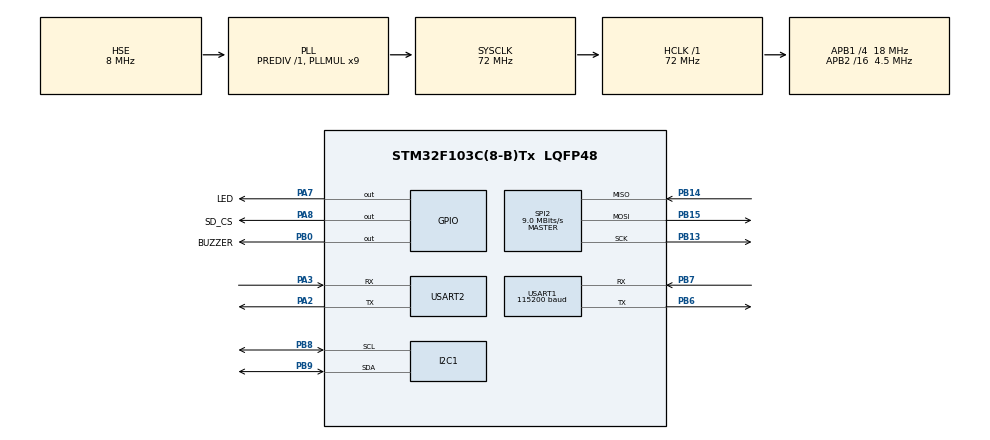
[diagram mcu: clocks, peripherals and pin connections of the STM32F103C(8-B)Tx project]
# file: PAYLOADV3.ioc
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FATFS._USE_LFN=1
Mcu.Family=STM32F1
Mcu.Name=STM32F103C(8-B)Tx
Mcu.Package=LQFP48
NVIC.PriorityGroup=NVIC_PRIORITYGROUP_4
NVIC.TIM2_IRQn=true\:2\:0\:true\:false\:true\:true\:true
NVIC.USART1_IRQn=true\:0\:0\:false\:false\:true\:true\:true
NVIC.USART2_IRQn=true\:0\:0\:false\:false\:true\:true\:true
PA13.Mode=Serial_Wire
PA13.Signal=SYS_JTMS-SWDIO
PA14.Mode=Serial_Wire
PA14.Signal=SYS_JTCK-SWCLK
PA2.Mode=Asynchronous
PA2.Signal=USART2_TX
PA3.Mode=Asynchronous
PA3.Signal=USART2_RX
PA7.GPIO_Label=LED
PA7.Signal=GPIO_Output
PA8.GPIO_Label=SD_CS
PA8.Signal=GPIO_Output
PB0.GPIO_Label=BUZZER
PB0.Signal=GPIO_Output
PB13.Mode=Full_Duplex_Master
PB13.Signal=SPI2_SCK
PB14.Mode=Full_Duplex_Master
PB14.Signal=SPI2_MISO
PB15.Mode=Full_Duplex_Master
PB15.Signal=SPI2_MOSI
PB6.Mode=Asynchronous
PB6.Signal=USART1_TX
PB7.Mode=Asynchronous
PB7.Signal=USART1_RX
PB8.Mode=I2C
PB8.Signal=I2C1_SCL
PB9.Mode=I2C
PB9.Signal=I2C1_SDA
PD0-OSC_IN.Mode=HSE-External-Oscillator
PD0-OSC_IN.Signal=RCC_OSC_IN
PD1-OSC_OUT.Mode=HSE-External-Oscillator
PD1-OSC_OUT.Signal=RCC_OSC_OUT
ProjectManager.HeapSize=0x200
ProjectManager.StackSize=0x400
ProjectManager.TargetToolchain=STM32CubeIDE
RCC.AHBFreq_Value=72000000
RCC.APB1CLKDivider=RCC_HCLK_DIV4
RCC.APB1Freq_Value=18000000
RCC.APB1TimFreq_Value=36000000
RCC.APB2CLKDivider=RCC_HCLK_DIV16
RCC.APB2Freq_Value=4500000
RCC.APB2TimFreq_Value=9000000
RCC.HCLKFreq_Value=72000000
RCC.PLLMUL=RCC_PLL_MUL9
RCC.PLLSourceVirtual=RCC_PLLSOURCE_HSE
RCC.SYSCLKFreq_VALUE=72000000
RCC.SYSCLKSource=RCC_SYSCLKSOURCE_PLLCLK
RCC.USBFreq_Value=72000000
SPI2.BaudRatePrescaler=SPI_BAUDRATEPRESCALER_2
SPI2.CalculateBaudRate=9.0 MBits/s
SPI2.Direction=SPI_DIRECTION_2LINES
SPI2.Mode=SPI_MODE_MASTER
SPI2.VirtualType=VM_MASTER
TIM2.Period=99
TIM2.Prescaler=35999
USART1.BaudRate=115200
USART1.VirtualMode=VM_ASYNC
USART2.VirtualMode=VM_ASYNC
VP_FATFS_VS_Generic.Mode=User_defined
VP_TIM2_VS_ClockSourceINT.Mode=Internal
board=custom

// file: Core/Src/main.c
/* USER CODE BEGIN Header */
/**
  ******************************************************************************
  * @file           : main.c
  * @brief          : Main program body
  ******************************************************************************
  * @attention
  *
  * <h2><center>&copy; Copyright (c) 2021 STMicroelectronics.
  * All rights reserved.</center></h2>
  *
  * This software component is licensed by ST under BSD 3-Clause license,
  * the "License"; You may not use this file except in compliance with the
  * License. You may obtain a copy of the License at:
  *                        opensource.org/licenses/BSD-3-Clause
  *
  ******************************************************************************
  */
/* USER CODE END Header */
#include "main.h"
#include "fatfs.h"

/* USER CODE BEGIN Includes */
#include "string.h"
#include "stdio.h"
#include "fatfs_sd.h"
#include "MS5611.h"
/* USER CODE END Includes */

/* USER CODE BEGIN PTD */
extern uint8_t AS;
extern char RX1_BUFF[180];
uint8_t C_SD = 0;
extern uint8_t MS5611;
float ALT_T = 0, BASE_ALT_T = 0;
uint8_t WRITE_SD = 0;
uint8_t CLOSE_READY_SD = 0;
/* USER CODE END PTD */

I2C_HandleTypeDef hi2c1;

SPI_HandleTypeDef hspi2;

TIM_HandleTypeDef htim2;

UART_HandleTypeDef huart1;
UART_HandleTypeDef huart2;

/* USER CODE BEGIN PV */
char *RX2_BUF = "ATCDATA\r\n";
extern char buff;
/* USER CODE END PV */

void SystemClock_Config(void);
static void MX_GPIO_Init(void);
static void MX_USART1_UART_Init(void);
static void MX_USART2_UART_Init(void);
static void MX_SPI2_Init(void);
static void MX_I2C1_Init(void);
static void MX_TIM2_Init(void);

/* USER CODE BEGIN 0 */
FATFS fs;  // file system
FIL fil;  // file
FRESULT fresult;  // to store the result
char buffer[1024];  // to store data

UINT br, bw;  // file read/write count

/* capacity related variables */

FATFS *pfs;
DWORD fre_clust;
uint32_t total, free_space;

/* to send the data to the uart */
void send_uart(char *string) {
	uint8_t len = strlen(string);
	HAL_UART_Transmit(&huart2, (uint8_t*) string, len, 2000); // transmit in blocking mode
}

/* to find the size of data in the buffer */
int bufsize(char *buf) {
	int i = 0;
	while (*buf++ != '\0')
		i++;
	return i;
}

void bufclear(void)  // clear buffer
{
	for (int i = 0; i < 1024; i++)
		buffer[i] = '\0';
}

/* USER CODE END 0 */

int main(void)
{

  /* MCU Configuration--------------------------------------------------------*/

  /* Reset of all peripherals, Initializes the Flash interface and the Systick. */
  HAL_Init();

  /* Configure the system clock */
  SystemClock_Config();

  /* Initialize all configured peripherals */
  MX_GPIO_Init();
  MX_USART1_UART_Init();
  MX_USART2_UART_Init();
  MX_SPI2_Init();
  MX_FATFS_Init();
  MX_I2C1_Init();
  MX_TIM2_Init();
  /* USER CODE BEGIN 2 */
  fresult = f_mount(&fs, "", 0);
        	if (fresult != FR_OK)
        		send_uart("Error in mounting SD CARD...\n");
        	else
        		send_uart("SD CARD mounted successfully...\n");

        	/**********CARD CAPACITY DETAILS**********/
        	/* Check free space */
        	f_getfree("", &fre_clust, &pfs);

        	total = (uint32_t) ((pfs->n_fatent - 2) * pfs->csize * 0.5);
        	sprintf(buffer, "SD CARD Total Size : \t%lu\n", total);
        	send_uart(buffer);
        	bufclear();
        	free_space = (uint32_t) (fre_clust * pfs->csize * 0.5);
        	sprintf(buffer, "SD CARD Free Space : \t%lu\n", free_space);
        	send_uart(buffer);

          /**********THE FOLLWING OPERATION IS USING PUTS AND GETS**********/
        	/* Open file to write/create a file if it doesn't exist */
        	fresult = f_open(&fil, "EPHEMERISH_PAYLOAD.txt", FA_OPEN_ALWAYS | FA_READ | FA_WRITE);

        	/* Writing text */
        	fresult = f_puts("EPHEMERISH PAYLOAD MISSION : RADIATION PROFILE OF 10000 FT\n\n", &fil);

        	send_uart("File.txt is created and the data is written \n");

//        	fresult = f_close(&fil);
//
//        	fresult = f_open(&fil, "EPHEMERISH_PAYLOAD.txt", FA_READ | FA_WRITE);

//        	/* Close file */
//        	fresult = f_close(&fil);
//
//        	send_uart("File.txt is created and the data is written \n");
//
//        	/* Open file to read */
//        	fresult = f_open(&fil, "EPHEMERISH_PAYLOAD.txt", FA_READ);
//
//        	/* Read string from the file */
//        	f_gets(buffer, fil.fsize, &fil);
//
//        	send_uart(buffer);
//
//        	/* Close file */
//        	f_close(&fil);
//
//        	bufclear();

	for (uint8_t i = 0; i < 12; i++) {
		HAL_GPIO_TogglePin(GPIOB, GPIO_PIN_0);
		HAL_GPIO_TogglePin(GPIOA, GPIO_PIN_7);
		HAL_Delay(50);
	}

	MS5611_Init();
	__HAL_UART_ENABLE_IT(&huart1, UART_IT_RXNE);
	HAL_UART_Transmit(&huart1, (uint8_t*) RX2_BUF, strlen(RX2_BUF), 1000);

	BASE_ALT_T = MS5611_ReadMedian_Altitude();

  /* USER CODE END 2 */

  /* Infinite loop */
  while (1)
  {

    /* USER CODE BEGIN 3 */
	  ALT_T = MS5611_ReadMedian_Altitude();
	  if(AS == 1 && ALT_T >  BASE_ALT_T + 20){
		  for(uint8_t i = 0 ; i < sizeof(RX1_BUFF) ; i++){
			  if(RX1_BUFF[i] == '\n'){
				  RX1_BUFF[i] = '|';
				  break;
			  }
		  }
		  sprintf(RX1_BUFF, "%s  ALT : %.2f\n", RX1_BUFF, ALT_T);
		  fresult = f_puts(RX1_BUFF, &fil);
		  HAL_UART_Transmit(&huart2, (uint8_t *)RX1_BUFF, sizeof(RX1_BUFF), 1000);
		  for(uint8_t i = 0 ; i < sizeof(RX1_BUFF) ; i++)
			  RX1_BUFF[i] = '\0';
		  AS = 0;
		  HAL_UART_Transmit(&huart1, (uint8_t *)RX2_BUF, strlen(RX2_BUF), 1000);
		  if(ALT_T >  BASE_ALT_T + 500){
			  CLOSE_READY_SD = 1;
			  HAL_GPIO_TogglePin(GPIOB, GPIO_PIN_0);
		  }

	  }
	  if((CLOSE_READY_SD == 1) && (ALT_T < BASE_ALT_T + 50)){
		  fresult = f_close(&fil);
		  HAL_GPIO_WritePin(GPIOA, GPIO_PIN_7, SET);
	  }
  }
  /* USER CODE END 3 */
}

void SystemClock_Config(void)
{
  RCC_OscInitTypeDef RCC_OscInitStruct = {0};
  RCC_ClkInitTypeDef RCC_ClkInitStruct = {0};

  /** Initializes the RCC Oscillators according to the specified parameters
  * in the RCC_OscInitTypeDef structure.
  */
  RCC_OscInitStruct.OscillatorType = RCC_OSCILLATORTYPE_HSE;
  RCC_OscInitStruct.HSEState = RCC_HSE_ON;
  RCC_OscInitStruct.HSEPredivValue = RCC_HSE_PREDIV_DIV1;
  RCC_OscInitStruct.HSIState = RCC_HSI_ON;
  RCC_OscInitStruct.PLL.PLLState = RCC_PLL_ON;
  RCC_OscInitStruct.PLL.PLLSource = RCC_PLLSOURCE_HSE;
  RCC_OscInitStruct.PLL.PLLMUL = RCC_PLL_MUL9;
  if (HAL_RCC_OscConfig(&RCC_OscInitStruct) != HAL_OK)
  {
    Error_Handler();
  }
  /** Initializes the CPU, AHB and APB buses clocks
  */
  RCC_ClkInitStruct.ClockType = RCC_CLOCKTYPE_HCLK|RCC_CLOCKTYPE_SYSCLK
                              |RCC_CLOCKTYPE_PCLK1|RCC_CLOCKTYPE_PCLK2;
  RCC_ClkInitStruct.SYSCLKSource = RCC_SYSCLKSOURCE_PLLCLK;
  RCC_ClkInitStruct.AHBCLKDivider = RCC_SYSCLK_DIV1;
  RCC_ClkInitStruct.APB1CLKDivider = RCC_HCLK_DIV4;
  RCC_ClkInitStruct.APB2CLKDivider = RCC_HCLK_DIV16;

  if (HAL_RCC_ClockConfig(&RCC_ClkInitStruct, FLASH_LATENCY_2) != HAL_OK)
  {
    Error_Handler();
  }
}

static void MX_I2C1_Init(void)
{

  hi2c1.Instance = I2C1;
  hi2c1.Init.ClockSpeed = 100000;
  hi2c1.Init.DutyCycle = I2C_DUTYCYCLE_2;
  hi2c1.Init.OwnAddress1 = 0;
  hi2c1.Init.AddressingMode = I2C_ADDRESSINGMODE_7BIT;
  hi2c1.Init.DualAddressMode = I2C_DUALADDRESS_DISABLE;
  hi2c1.Init.OwnAddress2 = 0;
  hi2c1.Init.GeneralCallMode = I2C_GENERALCALL_DISABLE;
  hi2c1.Init.NoStretchMode = I2C_NOSTRETCH_DISABLE;
  if (HAL_I2C_Init(&hi2c1) != HAL_OK)
  {
    Error_Handler();
  }

}

static void MX_SPI2_Init(void)
{

  /* SPI2 parameter configuration*/
  hspi2.Instance = SPI2;
  hspi2.Init.Mode = SPI_MODE_MASTER;
  hspi2.Init.Direction = SPI_DIRECTION_2LINES;
  hspi2.Init.DataSize = SPI_DATASIZE_8BIT;
  hspi2.Init.CLKPolarity = SPI_POLARITY_LOW;
  hspi2.Init.CLKPhase = SPI_PHASE_1EDGE;
  hspi2.Init.NSS = SPI_NSS_SOFT;
  hspi2.Init.BaudRatePrescaler = SPI_BAUDRATEPRESCALER_2;
  hspi2.Init.FirstBit = SPI_FIRSTBIT_MSB;
  hspi2.Init.TIMode = SPI_TIMODE_DISABLE;
  hspi2.Init.CRCCalculation = SPI_CRCCALCULATION_DISABLE;
  hspi2.Init.CRCPolynomial = 10;
  if (HAL_SPI_Init(&hspi2) != HAL_OK)
  {
    Error_Handler();
  }

}

static void MX_TIM2_Init(void)
{

  TIM_ClockConfigTypeDef sClockSourceConfig = {0};
  TIM_MasterConfigTypeDef sMasterConfig = {0};

  htim2.Instance = TIM2;
  htim2.Init.Prescaler = 35999;
  htim2.Init.CounterMode = TIM_COUNTERMODE_UP;
  htim2.Init.Period = 99;
  htim2.Init.ClockDivision = TIM_CLOCKDIVISION_DIV1;
  htim2.Init.AutoReloadPreload = TIM_AUTORELOAD_PRELOAD_DISABLE;
  if (HAL_TIM_Base_Init(&htim2) != HAL_OK)
  {
    Error_Handler();
  }
  sClockSourceConfig.ClockSource = TIM_CLOCKSOURCE_INTERNAL;
  if (HAL_TIM_ConfigClockSource(&htim2, &sClockSourceConfig) != HAL_OK)
  {
    Error_Handler();
  }
  sMasterConfig.MasterOutputTrigger = TIM_TRGO_RESET;
  sMasterConfig.MasterSlaveMode = TIM_MASTERSLAVEMODE_DISABLE;
  if (HAL_TIMEx_MasterConfigSynchronization(&htim2, &sMasterConfig) != HAL_OK)
  {
    Error_Handler();
  }

}

static void MX_USART1_UART_Init(void)
{

  huart1.Instance = USART1;
  huart1.Init.BaudRate = 115200;
  huart1.Init.WordLength = UART_WORDLENGTH_8B;
  huart1.Init.StopBits = UART_STOPBITS_1;
  huart1.Init.Parity = UART_PARITY_NONE;
  huart1.Init.Mode = UART_MODE_TX_RX;
  huart1.Init.HwFlowCtl = UART_HWCONTROL_NONE;
  huart1.Init.OverSampling = UART_OVERSAMPLING_16;
  if (HAL_UART_Init(&huart1) != HAL_OK)
  {
    Error_Handler();
  }

}

static void MX_USART2_UART_Init(void)
{

  huart2.Instance = USART2;
  huart2.Init.BaudRate = 115200;
  huart2.Init.WordLength = UART_WORDLENGTH_8B;
  huart2.Init.StopBits = UART_STOPBITS_1;
  huart2.Init.Parity = UART_PARITY_NONE;
  huart2.Init.Mode = UART_MODE_TX_RX;
  huart2.Init.HwFlowCtl = UART_HWCONTROL_NONE;
  huart2.Init.OverSampling = UART_OVERSAMPLING_16;
  if (HAL_UART_Init(&huart2) != HAL_OK)
  {
    Error_Handler();
  }

}

static void MX_GPIO_Init(void)
{
  GPIO_InitTypeDef GPIO_InitStruct = {0};

  /* GPIO Ports Clock Enable */
  __HAL_RCC_GPIOD_CLK_ENABLE();
  __HAL_RCC_GPIOA_CLK_ENABLE();
  __HAL_RCC_GPIOB_CLK_ENABLE();

  /*Configure GPIO pin Output Level */
  HAL_GPIO_WritePin(GPIOA, LED_Pin|SD_CS_Pin, GPIO_PIN_RESET);

  /*Configure GPIO pin Output Level */
  HAL_GPIO_WritePin(BUZZER_GPIO_Port, BUZZER_Pin, GPIO_PIN_RESET);

  /*Configure GPIO pins : LED_Pin SD_CS_Pin */
  GPIO_InitStruct.Pin = LED_Pin|SD_CS_Pin;
  GPIO_InitStruct.Mode = GPIO_MODE_OUTPUT_PP;
  GPIO_InitStruct.Pull = GPIO_NOPULL;
  GPIO_InitStruct.Speed = GPIO_SPEED_FREQ_LOW;
  HAL_GPIO_Init(GPIOA, &GPIO_InitStruct);

  /*Configure GPIO pin : BUZZER_Pin */
  GPIO_InitStruct.Pin = BUZZER_Pin;
  GPIO_InitStruct.Mode = GPIO_MODE_OUTPUT_PP;
  GPIO_InitStruct.Pull = GPIO_NOPULL;
  GPIO_InitStruct.Speed = GPIO_SPEED_FREQ_LOW;
  HAL_GPIO_Init(BUZZER_GPIO_Port, &GPIO_InitStruct);

}

void Error_Handler(void)
{
}

/************************ (C) COPYRIGHT STMicroelectronics *****END OF FILE****/
